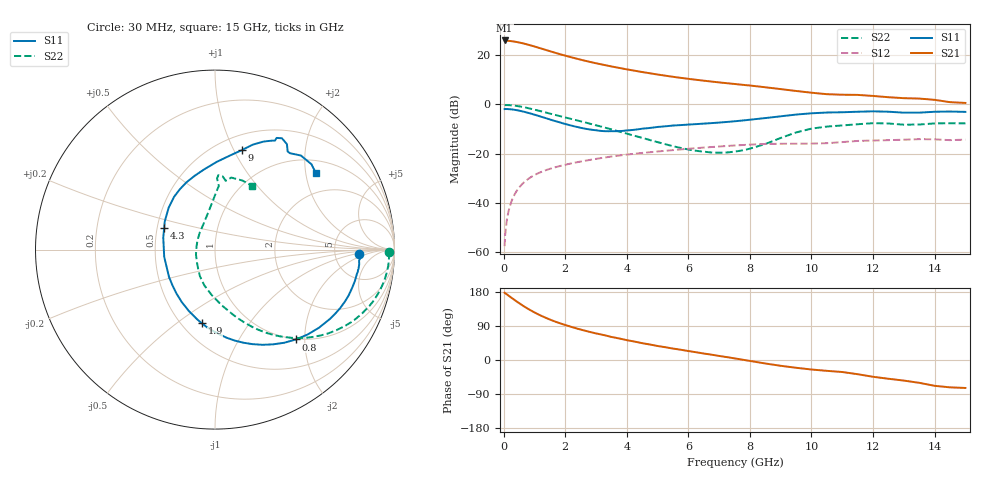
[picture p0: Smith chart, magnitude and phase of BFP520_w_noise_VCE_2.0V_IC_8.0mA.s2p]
! Infineon Technologies  Discrete & RF Semiconductors
! BFP520
! VCE =  2.0 V,  IC =  8.0 mA
! Common Emitter S-Parameters:  Oct 2015
# GHz  S  MA  R  50
!  f  S11  S21  S12  S22
! GHz  MAG  ANG  MAG  ANG  MAG  ANG  MAG  ANG
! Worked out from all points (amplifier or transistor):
!   109 points, 30 MHz to 15 GHz, reference 50 ohm
!   highest |S21| = 26.1 dB at 30 MHz (marker M1)
!   |S21| within 3 dB of that: start of sweep to 1.142 GHz
!   unconditionally stable (mu >= 1): 3.684 GHz to end of sweep
!   at 450 MHz: K = 0.20, MSG = 30.0 dB, |S12| = -34.7 dB
!   at 4 GHz: K = 1.04, MAG = 16.2 dB, |S12| = -20.4 dB
!   at 15 GHz: K = 1.32, MAG = 4.1 dB, |S12| = -14.3 dB
!   lowest NFmin = 1.40 dB at 900 MHz
!   S11 on the Smith chart (normalised r, x): 30 MHz: 9.06, -1.37; 800 MHz: 0.99, -1.81; 1.9 GHz: 0.63, -0.62; 4.3 GHz: 0.55, +0.15; 9 GHz: 0.65, +1.07; 15 GHz: 1.33, +2.28
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0.03  0.8052 -1.9  20.1 177.5  0.0013 73.5  0.9668 -0.9
0.1  0.8074 -6.5  19.76 173.3  0.0043 83.3  0.97 -3.9
0.25  0.7928 -15.8  19.45 164.4  0.0105 80.7  0.9594 -10.2
0.45  0.7591 -28.0  18.54 152.8  0.0184 75.7  0.9264 -18.2
0.6  0.7249 -36.9  17.71 144.7  0.0239 72.2  0.892 -23.7
0.8  0.6736 -48.0  16.41 134.6  0.0305 67.5  0.8395 -30.5
1  0.6191 -58.5  15.14 125.6  0.0365 63.7  0.7838 -36.6
1.3  0.5421 -73.1  13.28 113.7  0.0442 58.8  0.7028 -44.4
1.6  0.4725 -87.0  11.64 103.6  0.051 54.9  0.6279 -51.0
1.9  0.4165 -100.2  10.26 95.0  0.0572 51.7  0.5632 -56.7
2.2  0.3709 -113.4  9.113 87.3  0.0631 49.0  0.5055 -61.8
2.6  0.3253 -131.4  7.876 78.2  0.0706 45.7  0.4373 -68.1
3  0.2982 -149.2  6.901 70.1  0.078 42.4  0.3764 -74.5
3.5  0.2859 -172.0  5.944 60.8  0.087 38.2  0.3111 -83.3
4.3  0.3078 156.9  4.805 47.8  0.0998 31.4  0.2257 -100.9
5.1  0.3521 135.7  3.983 35.7  0.1116 25.2  0.1644 -121.5
6  0.3892 120.2  3.323 23.6  0.125 18.4  0.1212 -146.7
7.6  0.4603 95.2  2.573 3.0  0.1471 4.8  0.1117 148.9
9  0.5734 75.0  2.053 -15.3  0.1582 -8.5  0.2079 100.8
10.5  0.6851 62.4  1.618 -28.6  0.1626 -17.0  0.3545 86.6
13  0.6802 53.5  1.342 -54.3  0.1915 -37.1  0.3873 81.1
15  0.7059 37.4  1.074 -73.8  0.1922 -52.8  0.4112 60.2
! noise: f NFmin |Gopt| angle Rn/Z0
0.45  1.42  0.36  1  0.29
0.9  1.4  0.34  8  0.32
1.9  1.59  0.3  17  0.26
2.4  1.61  0.26  29  0.27
3.5  1.56  0.24  52  0.26
